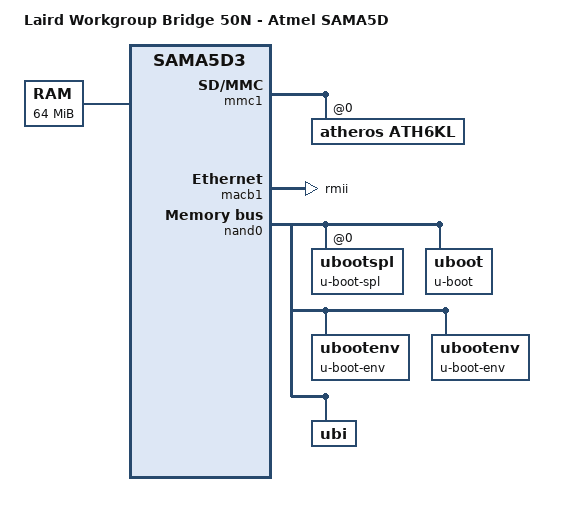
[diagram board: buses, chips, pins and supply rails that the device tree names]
// SPDX-License-Identifier: GPL-2.0
/*
 * at91-wb50n.dtsi - Device Tree include file for wb50n cpu module
 *
 *  Copyright (C) 2018 Laird
 *
 */

#include "sama5d31.dtsi"

/ {
	model = "Laird Workgroup Bridge 50N - Atmel SAMA5D";
	compatible = "laird,wb50n", "atmel,sama5d31", "atmel,sama5d3", "atmel,sama5";

	chosen {
		stdout-path = "serial0:115200n8";
	};

	signature {
		key-dev {
			required = "conf";
			algo = "sha256,rsa2048";
			key-name-hint = "dev";
		};
	};

	memory {
		reg = <0x20000000 0x4000000>;
	};

	ahb {
		apb {
			pinctrl@fffff200 {
				board {
					pinctrl_nand0_wp: nand0_wp {
						u-boot,dm-pre-reloc;
						atmel,pins = <AT91_PIOE 14 AT91_PERIPH_GPIO AT91_PINCTRL_NONE>;
					};

					pinctrl_mmc0_cd: mmc0_cd {
						u-boot,dm-pre-reloc;
						atmel,pins = <AT91_PIOC 26 AT91_PERIPH_GPIO AT91_PINCTRL_PULL_UP_DEGLITCH>; /* PC26 GPIO with pullup deglitch */
					};

					pinctrl_usba_vbus: usba_vbus {
						atmel,pins = <AT91_PIOB 13 AT91_PERIPH_GPIO AT91_PINCTRL_DEGLITCH>; /* PB13 GPIO with deglitch */
					};
				};
			};

			sha@f8034000 {
				status = "disabled";
			};
		};
	};
};

&slow_xtal {
	clock-frequency = <32768>;
};

&main_xtal {
	clock-frequency = <12000000>;
};

&slow_osc {
	atmel,osc-bypass;
};

&usart1_clk {
	atmel,clk-output-range = <0 132000000>;
};

&mmc0 {
	u-boot,dm-pre-reloc;
	pinctrl-names = "default";
	pinctrl-0 = <&pinctrl_mmc0_clk_cmd_dat0 &pinctrl_mmc0_dat1_3 &pinctrl_mmc0_cd>;

	slot@0 {
		reg = <0>;
		bus-width = <4>;
		cd-gpios = <&pioC 26 GPIO_ACTIVE_LOW>;
	};
};

&mmc1 {
	atheros@0 {
		compatible = "atheros,ath6kl";
		atheros,board-id = "SD32";
		reg = <0>;
		bus-width = <4>;
	};
};

&macb1 {
	#address-cells = <1>;
	#size-cells = <0>;

	phy-mode = "rmii";
};

&dbgu {
	u-boot,dm-pre-reloc;
};

/* On BB40 this port is labeled UART1 */
&usart0 {
	atmel,use-dma-rx;
	atmel,use-dma-tx;
	pinctrl-names = "default";
	pinctrl-0 = <&pinctrl_usart0 &pinctrl_usart0_rts_cts>;
	status = "disabled";
};

/* On BB40 this port is labeled UART0 */
&usart1 {
	atmel,use-dma-rx;
	atmel,use-dma-tx;
	pinctrl-names = "default";
	pinctrl-0 = <&pinctrl_usart1 &pinctrl_usart1_rts_cts>;
	dtr-gpios = <&pioD 13 GPIO_ACTIVE_LOW>;
	dsr-gpios = <&pioD 11 GPIO_ACTIVE_LOW>;
	dcd-gpios = <&pioD 7 GPIO_ACTIVE_LOW>;
	rng-gpios = <&pioD 8 GPIO_ACTIVE_LOW>;
};

/* USART3 is direct-connect to the Bluetooth UART on the radio SIP */
&usart3 {
	atmel,use-dma-rx;
	atmel,use-dma-tx;
	pinctrl-names = "default";
	pinctrl-0 = <&pinctrl_usart3 &pinctrl_usart3_rts_cts>;
};

&nand0 {
	pinctrl-0 = <&pinctrl_nand0_ale_cle &pinctrl_nand0_wp>;
	nand-bus-width = <8>;
	nand-ecc-mode = "hw";
	atmel,has-pmecc;
	atmel,pmecc-cap = <8>;
	atmel,pmecc-sector-size = <512>;
	nand-on-flash-bbt;
	status = "okay";

	ubootspl@0 {
		label = "u-boot-spl";
		reg = <0x0 0x20000>;
	};

	uboot@20000 {
		label = "u-boot";
		reg = <0x20000 0x80000>;
	};

	ubootenv@a0000 {
		label = "u-boot-env";
		reg = <0xa0000 0x20000>;
	};

	ubootenv@c0000 {
		label = "u-boot-env";
		reg = <0xc0000 0x20000>;
	};

	ubi@e0000 {
		label = "ubi";
		reg = <0xe0000 0x7f20000>;
	};
};

&usb0 {
	atmel,vbus-gpio = <&pioB 13 GPIO_ACTIVE_LOW>;
	pinctrl-names = "default";
	pinctrl-0 = <&pinctrl_usba_vbus>;
};

&usb1 {
	num-ports = <3>;
	atmel,vbus-gpio = <&pioA 2 GPIO_ACTIVE_LOW>;
	atmel,oc-gpio = <&pioA 4 GPIO_ACTIVE_LOW>;
};

&tcb0 {
	#address-cells = <1>;
	#size-cells = <0>;

	timer0: timer@0 {
		compatible = "atmel,tcb-timer";
		reg = <0>;
	};

	timer1: timer@1 {
		compatible = "atmel,tcb-timer";
		reg = <1>;
	};
};
